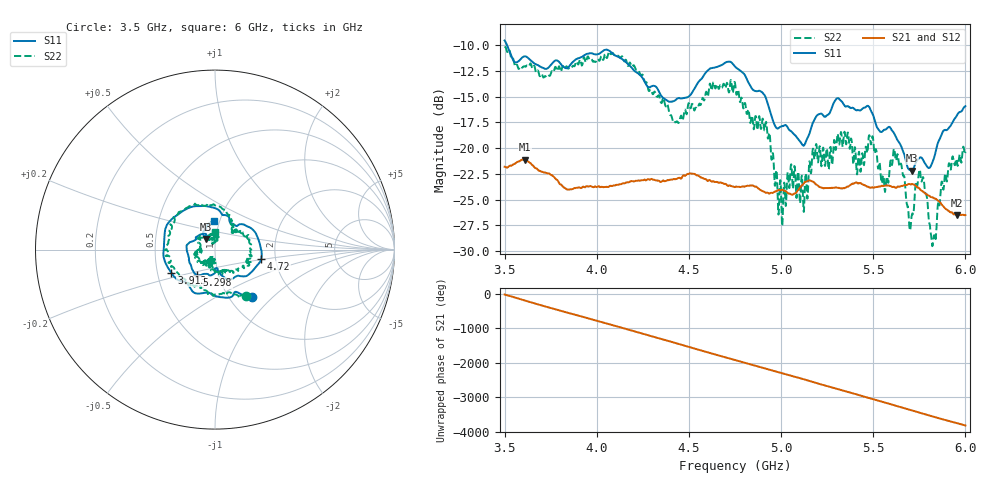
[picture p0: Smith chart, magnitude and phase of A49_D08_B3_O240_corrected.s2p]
! Created with skrf 1.9.0 (http://scikit-rf.org).
# Hz S RI R 50.0
!freq ReS11 ImS11 ReS21 ImS21 ReS12 ImS12 ReS22 ImS22
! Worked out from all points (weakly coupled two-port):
!   1601 points, 3.5 GHz to 6 GHz, reference 50 ohm
!   highest |S21| = -21.11 dB at 3.609 GHz (marker M1); lowest = -26.5 dB at 5.956 GHz (marker M2)
!   lowest |S11| = -22.2 dB at 5.709 GHz (marker M3), VSWR 1.17, Z = 44.9 + j5.34 ohm
!   |S11| at or under -10 dB: 3.513 GHz to end of sweep
!   |S22| runs from -29.5 to -10.1 dB; largest |S21 - S12| = 0.00099
!   S11 on the Smith chart (normalised r, x): 3.5 GHz: 1.27, -0.75; 3.913 GHz: 0.59, -0.17; 4.72 GHz: 1.68, -0.18; 5.298 GHz: 0.79, -0.23; 6 GHz: 0.94, +0.31
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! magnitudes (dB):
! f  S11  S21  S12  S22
! 3.5 GHz  -9.5  -21.8  -21.8  -10.1
! 3.609 GHz  -11.1  -21.1  -21.1  -12.1
! 3.913 GHz  -11.2  -23.9  -23.8  -11.5
! 3.917 GHz  -11.2  -23.9  -23.9  -11.9
! 4.334 GHz  -14.4  -23.2  -23.1  -14.9
! 4.434 GHz  -15.2  -23.0  -23.0  -17.4
! 4.72 GHz  -11.6  -23.6  -23.6  -14.4
! 4.75 GHz  -12.1  -23.8  -23.7  -13.7
! 4.927 GHz  -15.6  -24.3  -24.3  -18.9
! 4.997 GHz  -17.9  -24.1  -24.1  -23.2
! 5.167 GHz  -17.8  -23.2  -23.2  -21.2
! 5.298 GHz  -15.2  -23.8  -23.8  -20.0
! 5.422 GHz  -16.3  -23.4  -23.4  -20.4
! 5.487 GHz  -16.4  -23.8  -23.8  -19.6
! 5.584 GHz  -17.9  -23.6  -23.6  -23.1
! 5.641 GHz  -19.4  -23.8  -23.7  -21.6
! 5.709 GHz  -22.2  -23.5  -23.4  -26.5
! 5.759 GHz  -20.9  -24.1  -24.1  -23.2
! 5.828 GHz  -21.1  -24.8  -24.8  -28.6
! 5.88 GHz  -18.3  -25.6  -25.6  -24.0
! 5.956 GHz  -16.7  -26.5  -26.5  -21.6
! 6 GHz  -15.9  -26.5  -26.5  -20.4
